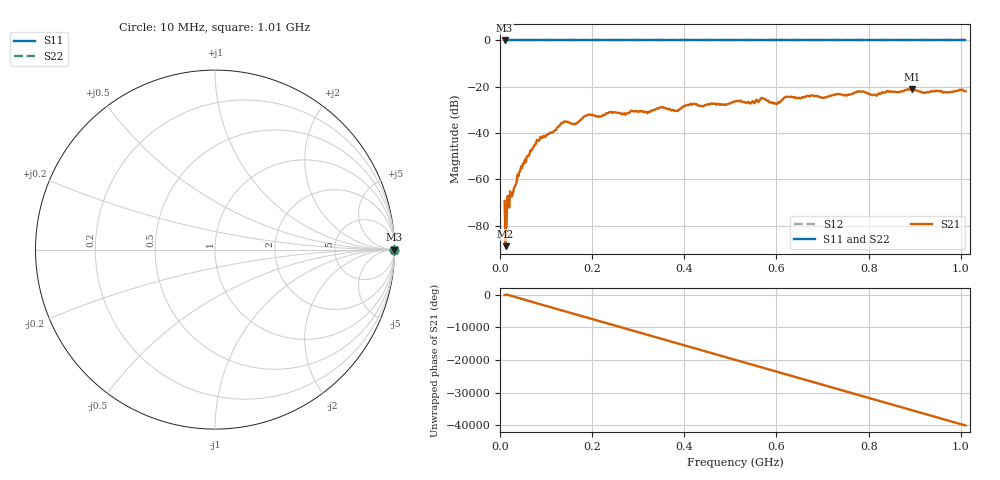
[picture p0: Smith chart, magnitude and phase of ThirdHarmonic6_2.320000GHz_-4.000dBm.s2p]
! 8/17/2025 3:16:56 AM
! C:\ANRITSUVNA\TEMP\TEMP.S2P
! CHANNEL.1
! TR.MEASUREMENT
! RAW.DATA
! RF.CORRECTION.OFF
! AVERAGING.OFF
! IF.BANDWIDTH: 5KHZ
! SWEEPTYPE:  FREQ.SWEEP(Linear)
! Reference Plane Port Info
! PORT:  PORT1  PORT2
! DISTANCE:  0  m  0  m
! TIME:  0  s  0  s
! PHASE.OFFSET:  0  deg.  0  deg.
! LOSS:  0  dB  0  dB
! REF.LOSS:  0  dB  0  dB
! REF.FREQ:  0  Hz  0  Hz
! Power Info
! POWER:  -20  dBm  -20  dBm
! EFF.POWER:  -20  dBm  -20  dBm
! SOURCE.ATTEN:  0  dB  0  dB
! TEST.ATTEN:  0  dB  0  dB
# GHZ S RI R 50.0
! FREQ.GHZ  S11RE  S11IM  S21RE  S21IM  S12RE  S12IM  S22RE  S22IM
!; PortSelection: Port_12
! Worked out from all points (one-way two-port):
!   501 points, 10 MHz to 1.01 GHz, reference 50 ohm
!   highest |S21| = -21.04 dB at 894 MHz (marker M1); lowest = -88.9 dB at 12 MHz (marker M2)
!   lowest |S11| = 0.0 dB at 10 MHz (marker M3)
!   |S11| at or under -10 dB: nowhere
!   |S22| runs from 0.0 to 0.0 dB; largest |S21 - S12| = 1.1
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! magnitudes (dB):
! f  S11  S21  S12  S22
! 10 MHz  0.0  -69.4  0.0  0.0
! 12 MHz  0.0  -88.9  0.0  0.0
! 16 MHz  0.0  -67.3  0.0  0.0
! 20 MHz  0.0  -72.2  0.0  0.0
! 24 MHz  0.0  -67.5  0.0  0.0
! 42 MHz  0.0  -56.9  0.0  0.0
! 84 MHz  0.0  -43.4  0.0  0.0
! 136 MHz  0.0  -35.7  0.0  0.0
! 162 MHz  0.0  -36.1  0.0  0.0
! 178 MHz  0.0  -33.8  0.0  0.0
! 344 MHz  0.0  -29.5  0.0  0.0
! 382 MHz  0.0  -30.4  0.0  0.0
! 416 MHz  0.0  -27.7  0.0  0.0
! 510 MHz  0.0  -26.3  0.0  0.0
! 548 MHz  0.0  -26.2  0.0  0.0
! 570 MHz  0.0  -24.9  0.0  0.0
! 598 MHz  0.0  -27.2  0.0  0.0
! 622 MHz  0.0  -24.3  0.0  0.0
! 678 MHz  0.0  -23.8  0.0  0.0
! 844 MHz  0.0  -22.1  0.0  0.0
! 894 MHz  0.0  -21.0  0.0  0.0
! 1.01 GHz  0.0  -22.0  0.0  0.0
